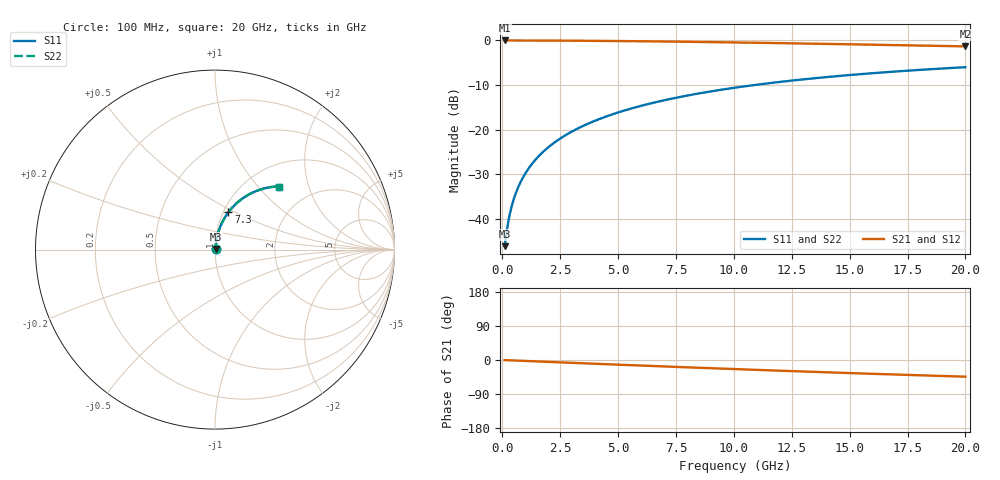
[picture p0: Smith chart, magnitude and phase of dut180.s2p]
! Touchstone file exported from HFSS 2026.1.0
!  File:  C:/ffzhzh/LocalFiles/Ansys_Project_Files/temp_train_TMRDL_180_1782983616_6248.aedt
!  Generated:  05:14:49 PM Jul  2, 2026
!  Design:  TMRDL
!  Project:  temp_train_TMRDL_180_1782983616_6248
! Variables:
!  h_bsmrdl = 2um
!  h_ox = 20um
!  h_rdl = 5um
!  h_sub = 80um
!  h_tmrdl = 3.74um
!  h_tsv = 80um
!  h_via = 3um
!  l_bsmrdl = 300um
!  l_sub = 961.52um
!  l_tmrdl = 561.52um
!  m_sub = 200um
!  pitch = 58.41um
!  r_tsv = 6um
!  s_tmrdl = 10um
!  w_bsmrdl = 18um
!  w_sub = 500um
!  w_tmrdl = 15.04um
!  x_tsv_center1 = 569.04um
!  x_tsv_center2 = 887.04um
!  x_tsv_center3 = 1463.6um
!  x_tsv_center4 = 1781.6um
!  x_tsv_center5 = 2358.16um
!  x_tsv_center6 = 2676.16um
# GHz S MA R 50.000000
! Terminal data exported
! Port[1] = TM_RDL1_1_T1
! Port[2] = TM_RDL1_1_T2
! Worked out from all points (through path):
!   200 points, 100 MHz to 20 GHz, reference 50 ohm
!   highest |S21| = -0.03 dB at 100 MHz (marker M1); lowest = -1.4 dB at 20 GHz (marker M2)
!   group delay of S21, straight-line fit = 6.13 ps
!   lowest |S11| = -46.2 dB at 100 MHz (marker M3), VSWR 1.01, Z = 50.4 + j0.332 ohm
!   |S11| at or under -10 dB: start of sweep to 10.93 GHz
!   |S22| runs from -46.2 to -6.0 dB; largest |S21 - S12| = 2e-15
!   S11 on the Smith chart (normalised r, x): 100 MHz: 1.01, +0.01; 7.3 GHz: 1.06, +0.46; 20 GHz: 1.39, +1.30
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0.1  0.00492 42.1  0.9964 -0.3  0.9964 -0.3  0.00492 42.1
! Gamma 0 0 0 0
! Port Impedance 50 0 50 0
0.2  0.007574 60.2  0.9963 -0.5  0.9963 -0.5  0.007574 60.2
0.3  0.01056 68.2  0.9961 -0.8  0.9961 -0.8  0.01056 68.2
0.4  0.01364 72.4  0.996 -1.0  0.996 -1.0  0.01364 72.4
0.5  0.01674 74.9  0.9959 -1.3  0.9959 -1.3  0.01674 74.9
0.6  0.01985 76.7  0.9958 -1.5  0.9958 -1.5  0.01985 76.7
0.8  0.02608 78.7  0.9955 -2.0  0.9955 -2.0  0.02608 78.7
1.1  0.03545 80.2  0.9951 -2.8  0.9951 -2.8  0.03545 80.2
1.5  0.04797 80.9  0.9944 -3.8  0.9944 -3.8  0.04797 80.9
1.8  0.05736 80.9  0.9938 -4.5  0.9938 -4.5  0.05736 80.9
2.1  0.06673 80.7  0.9931 -5.3  0.9931 -5.3  0.06673 80.7
2.7  0.0854 79.9  0.9914 -6.7  0.9914 -6.7  0.0854 79.9
3.5  0.11 78.5  0.9886 -8.7  0.9886 -8.7  0.11 78.5
4.2  0.1313 77.1  0.9856 -10.4  0.9856 -10.4  0.1313 77.1
5  0.1552 75.4  0.9817 -12.3  0.9817 -12.3  0.1552 75.4
6.8  0.2073 71.4  0.971 -16.6  0.971 -16.6  0.2073 71.4
7.3  0.2213 70.2  0.9676 -17.8  0.9676 -17.8  0.2213 70.2
8.6  0.2567 67.4  0.9582 -20.8  0.9582 -20.8  0.2567 67.4
10.1  0.2956 64.1  0.9463 -24.1  0.9463 -24.1  0.2956 64.1
13.4  0.3739 57.2  0.9173 -31.2  0.9173 -31.2  0.3739 57.2
16.7  0.4418 50.8  0.8863 -37.8  0.8863 -37.8  0.4418 50.7
20  0.4995 44.7  0.8551 -44.0  0.8551 -44.0  0.4995 44.7
